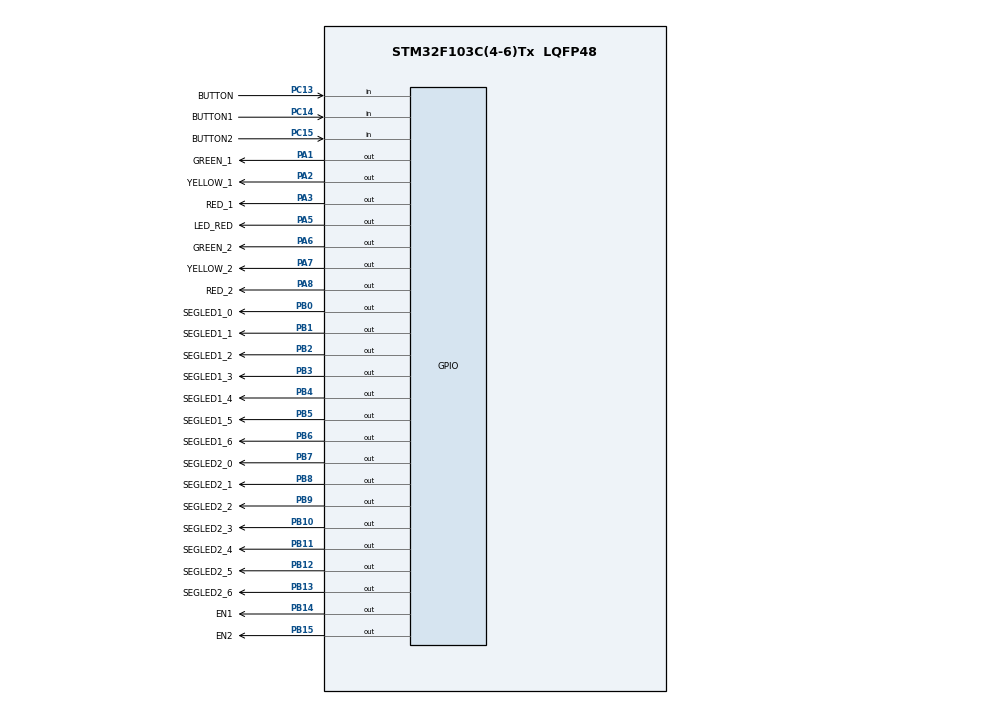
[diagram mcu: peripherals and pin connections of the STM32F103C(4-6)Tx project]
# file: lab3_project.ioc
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Mcu.Family=STM32F1
Mcu.Name=STM32F103C(4-6)Tx
Mcu.Package=LQFP48
NVIC.PriorityGroup=NVIC_PRIORITYGROUP_4
NVIC.TIM2_IRQn=true\:0\:0\:false\:false\:true\:true\:true
PA1.GPIO_Label=GREEN_1
PA1.Signal=GPIO_Output
PA2.GPIO_Label=YELLOW_1
PA2.Signal=GPIO_Output
PA3.GPIO_Label=RED_1
PA3.Signal=GPIO_Output
PA5.GPIO_Label=LED_RED
PA5.Signal=GPIO_Output
PA6.GPIO_Label=GREEN_2
PA6.Signal=GPIO_Output
PA7.GPIO_Label=YELLOW_2
PA7.Signal=GPIO_Output
PA8.GPIO_Label=RED_2
PA8.Signal=GPIO_Output
PB0.GPIO_Label=SEGLED1_0
PB0.Signal=GPIO_Output
PB1.GPIO_Label=SEGLED1_1
PB1.Signal=GPIO_Output
PB10.GPIO_Label=SEGLED2_3
PB10.Signal=GPIO_Output
PB11.GPIO_Label=SEGLED2_4
PB11.Signal=GPIO_Output
PB12.GPIO_Label=SEGLED2_5
PB12.Signal=GPIO_Output
PB13.GPIO_Label=SEGLED2_6
PB13.Signal=GPIO_Output
PB14.GPIO_Label=EN1
PB14.Signal=GPIO_Output
PB15.GPIO_Label=EN2
PB15.Signal=GPIO_Output
PB2.GPIO_Label=SEGLED1_2
PB2.Signal=GPIO_Output
PB3.GPIO_Label=SEGLED1_3
PB3.Signal=GPIO_Output
PB4.GPIO_Label=SEGLED1_4
PB4.Signal=GPIO_Output
PB5.GPIO_Label=SEGLED1_5
PB5.Signal=GPIO_Output
PB6.GPIO_Label=SEGLED1_6
PB6.Signal=GPIO_Output
PB7.GPIO_Label=SEGLED2_0
PB7.Signal=GPIO_Output
PB8.GPIO_Label=SEGLED2_1
PB8.Signal=GPIO_Output
PB9.GPIO_Label=SEGLED2_2
PB9.Signal=GPIO_Output
PC13-TAMPER-RTC.GPIO_Label=BUTTON
PC13-TAMPER-RTC.GPIO_PuPd=GPIO_PULLUP
PC13-TAMPER-RTC.Signal=GPIO_Input
PC14-OSC32_IN.GPIO_Label=BUTTON1
PC14-OSC32_IN.GPIO_PuPd=GPIO_PULLUP
PC14-OSC32_IN.Signal=GPIO_Input
PC15-OSC32_OUT.GPIO_Label=BUTTON2
PC15-OSC32_OUT.GPIO_PuPd=GPIO_PULLUP
PC15-OSC32_OUT.Signal=GPIO_Input
ProjectManager.HeapSize=0x200
ProjectManager.StackSize=0x400
ProjectManager.TargetToolchain=STM32CubeIDE
RCC.APB1Freq_Value=8000000
RCC.APB2Freq_Value=8000000
TIM2.Period=9
TIM2.Prescaler=7999
VP_SYS_VS_ND.Mode=No_Debug
VP_TIM2_VS_ClockSourceINT.Mode=Internal
board=custom

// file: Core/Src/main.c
/* USER CODE BEGIN Header */
/**
  ******************************************************************************
  * @file           : main.c
  * @brief          : Main program body
  ******************************************************************************
  * @attention
  *
  * <h2><center>&copy; Copyright (c) 2024 STMicroelectronics.
  * All rights reserved.</center></h2>
  *
  * This software component is licensed by ST under BSD 3-Clause license,
  * the "License"; You may not use this file except in compliance with the
  * License. You may obtain a copy of the License at:
  *                        opensource.org/licenses/BSD-3-Clause
  *
  ******************************************************************************
  */
/* USER CODE END Header */
#include "main.h"

/* USER CODE BEGIN Includes */
#include "global.h"
#include "input_reading.h"
#include "input_processing.h"
#include <ex4.h>
#include "ex5.h"
/* USER CODE END Includes */

TIM_HandleTypeDef htim2;

void SystemClock_Config(void);
static void MX_GPIO_Init(void);
static void MX_TIM2_Init(void);

/* USER CODE BEGIN 0 */
GPIO_TypeDef* GPIO_enable[2] = {EN1_GPIO_Port,EN2_GPIO_Port};
uint16_t GPIO_enable_Pin[2] = {EN1_Pin,EN2_Pin};
GPIO_TypeDef* GPIOx[3] = {BUTTON_GPIO_Port,BUTTON1_GPIO_Port,BUTTON2_GPIO_Port};
uint16_t GPIO_Pin[3] = {BUTTON_Pin,BUTTON1_Pin,BUTTON2_Pin};
int buffer1[] = {0,1};
int buffer2[] = {0,1};
int buffer_slect_red[] = {0,1};
int buffer_slect_yellow[] = {0,1};
int buffer_slect_green[] = {0,1};
int my_index = 1;
void updateTime(){
	if(timer1_flag[1] == 1){
		setTimer1(1, 1000);
		time_1 --;
		time_2 --;
	}
}
void update_buffer(){
	buffer1[0] = ( time_1 - 1 )/ 10;
	buffer1[1] =  (time_1 - 1)% 10;
	buffer2[0] = (time_2-1) / 10;
	buffer2[1] = (time_2 -1) % 10;
	buffer_slect_red[0] = (time_red_select-1) / 10;
	buffer_slect_red[1] = (time_red_select-1) % 10;
	buffer_slect_yellow[0] = (time_yellow_select - 1) / 10;
	buffer_slect_yellow[1] = (time_yellow_select - 1) % 10;
	buffer_slect_green[0] = (time_green_select - 1) / 10;
	buffer_slect_green[1] = (time_green_select - 1) % 10;
}

void update_Display(){
	HAL_GPIO_WritePin(GPIO_enable[my_index], GPIO_enable_Pin[my_index],RESET);
	HAL_GPIO_WritePin(GPIO_enable[1-my_index], GPIO_enable_Pin[1-my_index],SET);
switch(status){

case SET_TIME_RED:
	DISPLAY_LED_7_SEGMENT(GPIOB, SEGLED1_0_Pin, SEGLED1_1_Pin, SEGLED1_2_Pin,
			SEGLED1_3_Pin, SEGLED1_4_Pin, SEGLED1_5_Pin, SEGLED1_6_Pin, buffer_slect_red[my_index]);
	DISPLAY_LED_7_SEGMENT(GPIOB, SEGLED2_0_Pin, SEGLED2_1_Pin, SEGLED2_2_Pin, SEGLED2_3_Pin, SEGLED2_4_Pin, SEGLED2_5_Pin, SEGLED2_6_Pin, 2);
	break;
case SET_TIME_YELLOW:
	DISPLAY_LED_7_SEGMENT(GPIOB, SEGLED1_0_Pin, SEGLED1_1_Pin, SEGLED1_2_Pin,
			SEGLED1_3_Pin, SEGLED1_4_Pin, SEGLED1_5_Pin, SEGLED1_6_Pin, buffer_slect_yellow[my_index]);
	DISPLAY_LED_7_SEGMENT(GPIOB, SEGLED2_0_Pin, SEGLED2_1_Pin, SEGLED2_2_Pin, SEGLED2_3_Pin, SEGLED2_4_Pin, SEGLED2_5_Pin, SEGLED2_6_Pin, 3);
	break;
case SET_TIME_GREEN:
	DISPLAY_LED_7_SEGMENT(GPIOB, SEGLED1_0_Pin, SEGLED1_1_Pin, SEGLED1_2_Pin,
			SEGLED1_3_Pin, SEGLED1_4_Pin, SEGLED1_5_Pin, SEGLED1_6_Pin, buffer_slect_green[my_index]);
	DISPLAY_LED_7_SEGMENT(GPIOB, SEGLED2_0_Pin, SEGLED2_1_Pin, SEGLED2_2_Pin, SEGLED2_3_Pin, SEGLED2_4_Pin, SEGLED2_5_Pin, SEGLED2_6_Pin, 4);
	break;
default :
    DISPLAY_LED_7_SEGMENT(GPIOB, SEGLED1_0_Pin, SEGLED1_1_Pin, SEGLED1_2_Pin,
    		SEGLED1_3_Pin, SEGLED1_4_Pin, SEGLED1_5_Pin, SEGLED1_6_Pin, buffer1[my_index]);
    DISPLAY_LED_7_SEGMENT(GPIOB, SEGLED2_0_Pin, SEGLED2_1_Pin, SEGLED2_2_Pin,
    		SEGLED2_3_Pin, SEGLED2_4_Pin, SEGLED2_5_Pin, SEGLED2_6_Pin, buffer2[my_index]);
    break;
}

}
/* USER CODE END 0 */

int main(void)
{

  /* MCU Configuration--------------------------------------------------------*/

  /* Reset of all peripherals, Initializes the Flash interface and the Systick. */
  HAL_Init();

  /* Configure the system clock */
  SystemClock_Config();

  /* Initialize all configured peripherals */
  MX_GPIO_Init();
  MX_TIM2_Init();
  /* USER CODE BEGIN 2 */
  HAL_TIM_Base_Start_IT(&htim2);
  ex4_init();
  ex5_init();
  HAL_GPIO_WritePin(EN1_GPIO_Port, EN1_Pin,RESET);
  HAL_GPIO_WritePin(EN2_GPIO_Port, EN2_Pin,SET);

  setTimer1(3, 100);
  /* USER CODE END 2 */

  /* Infinite loop */
  /* USER CODE BEGIN WHILE */
  while (1)
  {
	  if(timer1_flag[3] == 1){
		  setTimer1(3, 100);
		  my_index = 1-my_index;
	  }
	  update_buffer();
	  updateTime();
	  update_Display();
	  automatic_run();
	  manual_run();
	  traffic_double_display(GPIOA, RED_1_Pin, YELLOW_1_Pin, GREEN_1_Pin, GPIOA, RED_2_Pin, YELLOW_2_Pin, GREEN_2_Pin, status);
    /* USER CODE END WHILE */

  }
}

void SystemClock_Config(void)
{
  RCC_OscInitTypeDef RCC_OscInitStruct = {0};
  RCC_ClkInitTypeDef RCC_ClkInitStruct = {0};

  /** Initializes the RCC Oscillators according to the specified parameters
  * in the RCC_OscInitTypeDef structure.
  */
  RCC_OscInitStruct.OscillatorType = RCC_OSCILLATORTYPE_HSI;
  RCC_OscInitStruct.HSIState = RCC_HSI_ON;
  RCC_OscInitStruct.HSICalibrationValue = RCC_HSICALIBRATION_DEFAULT;
  RCC_OscInitStruct.PLL.PLLState = RCC_PLL_NONE;
  if (HAL_RCC_OscConfig(&RCC_OscInitStruct) != HAL_OK)
  {
    Error_Handler();
  }
  /** Initializes the CPU, AHB and APB buses clocks
  */
  RCC_ClkInitStruct.ClockType = RCC_CLOCKTYPE_HCLK|RCC_CLOCKTYPE_SYSCLK
                              |RCC_CLOCKTYPE_PCLK1|RCC_CLOCKTYPE_PCLK2;
  RCC_ClkInitStruct.SYSCLKSource = RCC_SYSCLKSOURCE_HSI;
  RCC_ClkInitStruct.AHBCLKDivider = RCC_SYSCLK_DIV1;
  RCC_ClkInitStruct.APB1CLKDivider = RCC_HCLK_DIV1;
  RCC_ClkInitStruct.APB2CLKDivider = RCC_HCLK_DIV1;

  if (HAL_RCC_ClockConfig(&RCC_ClkInitStruct, FLASH_LATENCY_0) != HAL_OK)
  {
    Error_Handler();
  }
}

static void MX_TIM2_Init(void)
{

  TIM_ClockConfigTypeDef sClockSourceConfig = {0};
  TIM_MasterConfigTypeDef sMasterConfig = {0};

  htim2.Instance = TIM2;
  htim2.Init.Prescaler = 7999;
  htim2.Init.CounterMode = TIM_COUNTERMODE_UP;
  htim2.Init.Period = 9;
  htim2.Init.ClockDivision = TIM_CLOCKDIVISION_DIV1;
  htim2.Init.AutoReloadPreload = TIM_AUTORELOAD_PRELOAD_DISABLE;
  if (HAL_TIM_Base_Init(&htim2) != HAL_OK)
  {
    Error_Handler();
  }
  sClockSourceConfig.ClockSource = TIM_CLOCKSOURCE_INTERNAL;
  if (HAL_TIM_ConfigClockSource(&htim2, &sClockSourceConfig) != HAL_OK)
  {
    Error_Handler();
  }
  sMasterConfig.MasterOutputTrigger = TIM_TRGO_RESET;
  sMasterConfig.MasterSlaveMode = TIM_MASTERSLAVEMODE_DISABLE;
  if (HAL_TIMEx_MasterConfigSynchronization(&htim2, &sMasterConfig) != HAL_OK)
  {
    Error_Handler();
  }

}

static void MX_GPIO_Init(void)
{
  GPIO_InitTypeDef GPIO_InitStruct = {0};

  /* GPIO Ports Clock Enable */
  __HAL_RCC_GPIOC_CLK_ENABLE();
  __HAL_RCC_GPIOA_CLK_ENABLE();
  __HAL_RCC_GPIOB_CLK_ENABLE();

  /*Configure GPIO pin Output Level */
  HAL_GPIO_WritePin(GPIOA, GREEN_1_Pin|YELLOW_1_Pin|RED_1_Pin|LED_RED_Pin
                          |GREEN_2_Pin|YELLOW_2_Pin|RED_2_Pin, GPIO_PIN_RESET);

  /*Configure GPIO pin Output Level */
  HAL_GPIO_WritePin(GPIOB, SEGLED1_0_Pin|SEGLED1_1_Pin|SEGLED1_2_Pin|SEGLED2_3_Pin
                          |SEGLED2_4_Pin|SEGLED2_5_Pin|SEGLED2_6_Pin|EN1_Pin
                          |EN2_Pin|SEGLED1_3_Pin|SEGLED1_4_Pin|SEGLED1_5_Pin
                          |SEGLED1_6_Pin|SEGLED2_0_Pin|SEGLED2_1_Pin|SEGLED2_2_Pin, GPIO_PIN_RESET);

  /*Configure GPIO pins : BUTTON_Pin BUTTON1_Pin BUTTON2_Pin */
  GPIO_InitStruct.Pin = BUTTON_Pin|BUTTON1_Pin|BUTTON2_Pin;
  GPIO_InitStruct.Mode = GPIO_MODE_INPUT;
  GPIO_InitStruct.Pull = GPIO_PULLUP;
  HAL_GPIO_Init(GPIOC, &GPIO_InitStruct);

  /*Configure GPIO pins : GREEN_1_Pin YELLOW_1_Pin RED_1_Pin LED_RED_Pin
                           GREEN_2_Pin YELLOW_2_Pin RED_2_Pin */
  GPIO_InitStruct.Pin = GREEN_1_Pin|YELLOW_1_Pin|RED_1_Pin|LED_RED_Pin
                          |GREEN_2_Pin|YELLOW_2_Pin|RED_2_Pin;
  GPIO_InitStruct.Mode = GPIO_MODE_OUTPUT_PP;
  GPIO_InitStruct.Pull = GPIO_NOPULL;
  GPIO_InitStruct.Speed = GPIO_SPEED_FREQ_LOW;
  HAL_GPIO_Init(GPIOA, &GPIO_InitStruct);

  /*Configure GPIO pins : SEGLED1_0_Pin SEGLED1_1_Pin SEGLED1_2_Pin SEGLED2_3_Pin
                           SEGLED2_4_Pin SEGLED2_5_Pin SEGLED2_6_Pin EN1_Pin
                           EN2_Pin SEGLED1_3_Pin SEGLED1_4_Pin SEGLED1_5_Pin
                           SEGLED1_6_Pin SEGLED2_0_Pin SEGLED2_1_Pin SEGLED2_2_Pin */
  GPIO_InitStruct.Pin = SEGLED1_0_Pin|SEGLED1_1_Pin|SEGLED1_2_Pin|SEGLED2_3_Pin
                          |SEGLED2_4_Pin|SEGLED2_5_Pin|SEGLED2_6_Pin|EN1_Pin
                          |EN2_Pin|SEGLED1_3_Pin|SEGLED1_4_Pin|SEGLED1_5_Pin
                          |SEGLED1_6_Pin|SEGLED2_0_Pin|SEGLED2_1_Pin|SEGLED2_2_Pin;
  GPIO_InitStruct.Mode = GPIO_MODE_OUTPUT_PP;
  GPIO_InitStruct.Pull = GPIO_NOPULL;
  GPIO_InitStruct.Speed = GPIO_SPEED_FREQ_LOW;
  HAL_GPIO_Init(GPIOB, &GPIO_InitStruct);

}

/* USER CODE BEGIN 4 */
void HAL_TIM_PeriodElapsedCallback(TIM_HandleTypeDef *htim){
	timerRun();
	button_reading(GPIOx, GPIO_Pin);
}
/* USER CODE END 4 */

void Error_Handler(void)
{
  __disable_irq();
  while (1)
  {
  }
}

/************************ (C) COPYRIGHT STMicroelectronics *****END OF FILE****/
